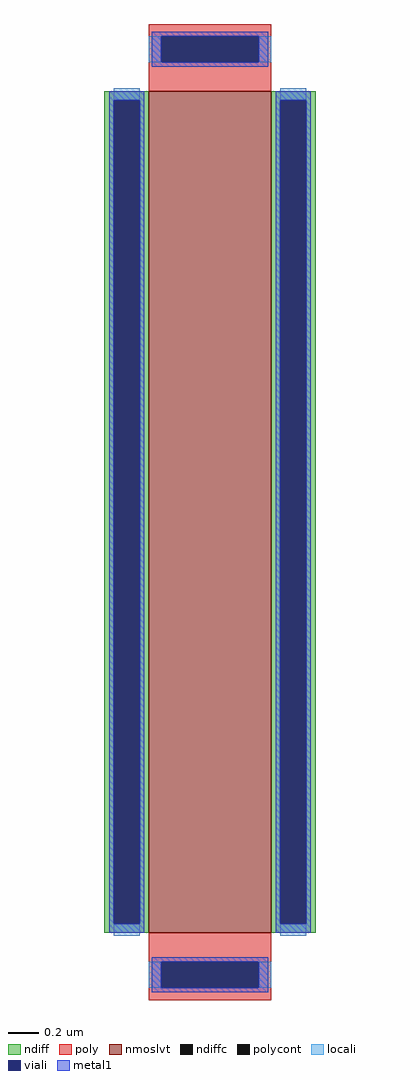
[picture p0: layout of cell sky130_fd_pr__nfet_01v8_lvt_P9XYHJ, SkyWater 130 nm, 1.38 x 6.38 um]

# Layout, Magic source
magic
tech sky130A
<< nmoslvt >>
rect -40 -275 40 275
<< ndiff >>
rect -69 269 -40 275
rect -69 -269 -63 269
rect -46 -269 -40 269
rect -69 -275 -40 -269
rect 40 269 69 275
rect 40 -269 46 269
rect 63 -269 69 269
rect 40 -275 69 -269
<< ndiffc >>
rect -63 -269 -46 269
rect 46 -269 63 269
<< poly >>
rect -40 311 40 319
rect -40 294 -32 311
rect 32 294 40 311
rect -40 275 40 294
rect -40 -294 40 -275
rect -40 -311 -32 -294
rect 32 -311 40 -294
rect -40 -319 40 -311
<< polycont >>
rect -32 294 32 311
rect -32 -311 32 -294
<< locali >>
rect -40 294 -32 311
rect 32 294 40 311
rect -63 269 -46 277
rect -63 -277 -46 -269
rect 46 269 63 277
rect 46 -277 63 -269
rect -40 -311 -32 -294
rect 32 -311 40 -294
<< viali >>
rect -32 294 32 311
rect -63 -269 -46 269
rect 46 -269 63 269
rect -32 -311 32 -294
<< metal1 >>
rect -38 311 38 314
rect -38 294 -32 311
rect 32 294 38 311
rect -38 291 38 294
rect -66 269 -43 275
rect -66 -269 -63 269
rect -46 -269 -43 269
rect -66 -275 -43 -269
rect 43 269 66 275
rect 43 -269 46 269
rect 63 -269 66 269
rect 43 -275 66 -269
rect -38 -294 38 -291
rect -38 -311 -32 -294
rect 32 -311 38 -294
rect -38 -314 38 -311
<< properties >>
string gencell sky130_fd_pr__nfet_01v8_lvt
string library sky130
string parameters w 5.5 l 0.8 m 1 nf 1 diffcov 100 polycov 100 guard 0 glc 0 grc 0 gtc 0 gbc 0 tbcov 100 rlcov 100 topc 1 botc 1 poverlap 0 doverlap 1 lmin 0.15 wmin 0.42 compatible {sky130_fd_pr__nfet_01v8 sky130_fd_pr__nfet_01v8_lvt  sky130_fd_bs_flash__special_sonosfet_star  sky130_fd_pr__nfet_g5v0d10v5 sky130_fd_pr__nfet_05v0_nvt  sky130_fd_pr__nfet_03v3_nvt} full_metal 0 viasrc 100 viadrn 100 viagate 100 viagb 0 viagr 0 viagl 0 viagt 0
<< end >>
